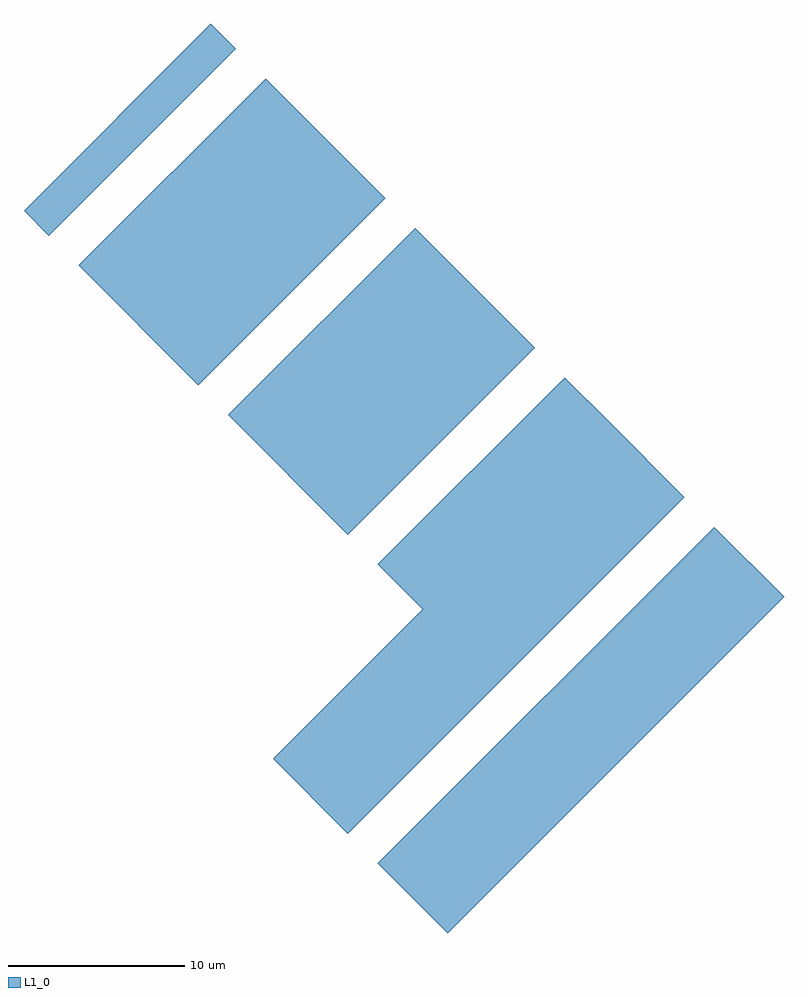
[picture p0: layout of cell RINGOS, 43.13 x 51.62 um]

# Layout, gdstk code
import gdstk
lib = gdstk.Library(unit=1e-6, precision=1e-09)
def P(c, l, *ps):  # polygons
    for p in ps: c.add(gdstk.Polygon(p, *l))
L1_0 = (1, 0)

ringo_clip_var = lib.new_cell('RINGO$CLIP_VAR')
P(ringo_clip_var, L1_0, [(5.657,8.485),(1.697,12.445),(20.789,31.537),(24.749,27.577)])

ringo_clip_var_1 = lib.new_cell('RINGO$CLIP_VAR$1')
P(ringo_clip_var_1, L1_0, [(8.485,5.657),(4.243,9.899),(23.335,28.991),(27.577,24.749)],
  [(12.728,18.385),(10.182,20.93),(20.789,31.537),(23.335,28.991)])

ringo_clip_var_2 = lib.new_cell('RINGO$CLIP_VAR$2')
P(ringo_clip_var_2, L1_0, [(16.971,14.142),(10.182,20.93),(20.789,31.537),(27.577,24.749)])

ringo_clip_var_3 = lib.new_cell('RINGO$CLIP_VAR$3')
P(ringo_clip_var_3, L1_0, [(16.971,14.142),(10.182,20.93),(20.789,31.537),(27.577,24.749)])

ringo_clip_var_4 = lib.new_cell('RINGO$CLIP_VAR$4')
P(ringo_clip_var_4, L1_0, [(16.971,14.142),(15.556,15.556),(26.163,26.163),(27.577,24.749)])

ringos = lib.new_cell('RINGOS')
ringos.add(gdstk.Reference(ringo_clip_var, (-16.971,16.971)))
ringos.add(gdstk.Reference(ringo_clip_var_1, (-25.456,25.456)))
ringos.add(gdstk.Reference(ringo_clip_var_2, (-33.941,33.941)))
ringos.add(gdstk.Reference(ringo_clip_var_3, (-42.426,42.426)))
ringos.add(gdstk.Reference(ringo_clip_var_4, (-50.912,50.912)))

lib.write_gds('RINGOS.gds')
